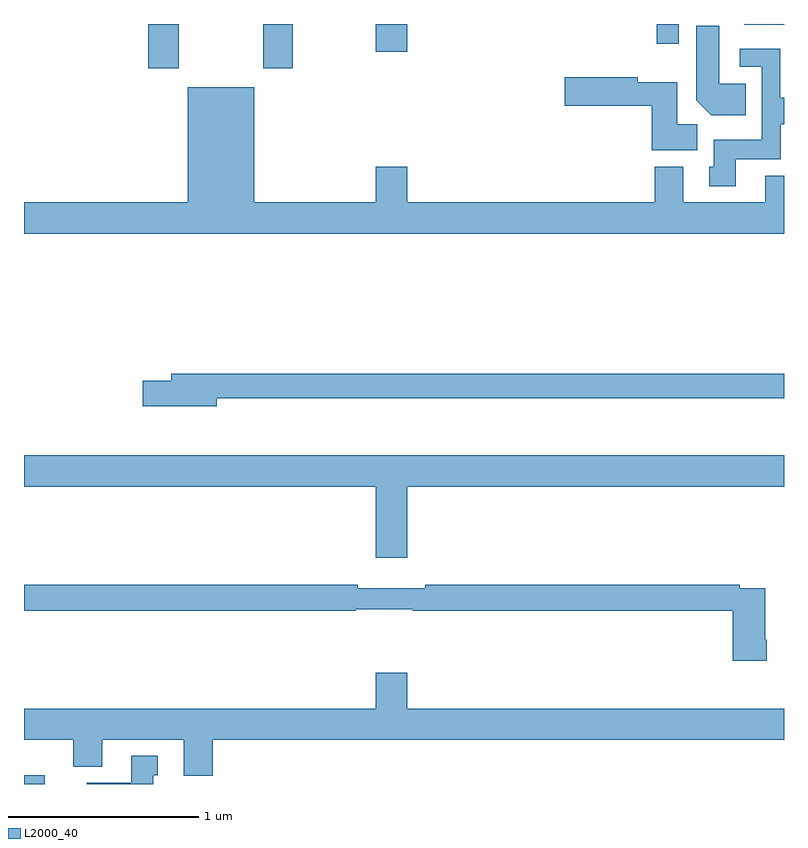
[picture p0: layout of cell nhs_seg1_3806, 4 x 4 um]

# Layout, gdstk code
import gdstk
lib = gdstk.Library(unit=1e-6, precision=1e-09)
def R(c, l, rs):  # rectangles x0, y0, x1, y1
    for r in rs: c.add(gdstk.rectangle(r[:2], r[2:], *l))
def P(c, l, *ps):  # polygons
    for p in ps: c.add(gdstk.Polygon(p, *l))
L2000_40 = (2000, 40)

nhs_seg1_3806 = lib.new_cell('nhs_seg1_3806')
R(nhs_seg1_3806, L2000_40, [(319,518.199,319.108,518.245), (319.655,521.967,319.815,522.199), (320.26,521.967,320.415,522.199), (320.852,522.054,321.016,522.199), (322.33,522.096,322.446,522.199), (322.791,522.194,323,522.199)])
P(nhs_seg1_3806, L2000_40, [(322.799,521.884),(322.66,521.884),(322.66,522.19),(322.538,522.19),(322.538,521.798),(322.616,521.72),(322.799,521.72)],
  [(322.747,521.486),(322.983,521.486),(322.983,521.672),(323,521.672),(323,521.812),(322.98,521.812),(322.98,522.069),(322.767,522.069),(322.767,521.973),(322.884,521.973),(322.884,521.59),(322.631,521.59),(322.631,521.448),(322.607,521.448),(322.607,521.346),(322.747,521.346)],
  [(322.543,521.672),(322.438,521.672),(322.438,521.893),(322.23,521.893),(322.23,521.918),(321.846,521.918),(321.846,521.77),(322.304,521.77),(322.304,521.534),(322.543,521.534)],
  [(323,521.401),(322.901,521.401),(322.901,521.26),(322.471,521.26),(322.471,521.449),(322.319,521.449),(322.319,521.26),(321.016,521.26),(321.016,521.449),(320.852,521.449),(320.852,521.26),(320.212,521.26),(320.212,521.866),(319.862,521.866),(319.862,521.26),(319,521.26),(319,521.096),(323,521.096)],
  [(320.014,520.23),(323,520.23),(323,520.358),(319.775,520.358),(319.775,520.322),(319.626,520.322),(319.626,520.187),(320.014,520.187)],
  [(321.016,519.764),(323,519.764),(323,519.928),(319,519.928),(319,519.764),(320.852,519.764),(320.852,519.39),(321.016,519.39)],
  [(322.908,518.959),(322.9,518.959),(322.9,519.228),(322.766,519.228),(322.766,519.248),(321.112,519.248),(321.112,519.229),(320.756,519.229),(320.756,519.248),(319,519.248),(319,519.112),(320.746,519.112),(320.746,519.12),(321.046,519.12),(321.046,519.112),(322.73,519.112),(322.73,518.847),(322.908,518.847)],
  [(319.994,518.432),(323,518.432),(323,518.596),(321.016,518.596),(321.016,518.785),(320.852,518.785),(320.852,518.596),(319,518.596),(319,518.432),(319.259,518.432),(319.259,518.291),(319.411,518.291),(319.411,518.432),(319.841,518.432),(319.841,518.243),(319.994,518.243)],
  [(319.681,518.244),(319.705,518.244),(319.705,518.347),(319.565,518.347),(319.565,518.206),(319.33,518.206),(319.33,518.199),(319.681,518.199)])

lib.write_gds('nhs_seg1_3806.gds')
